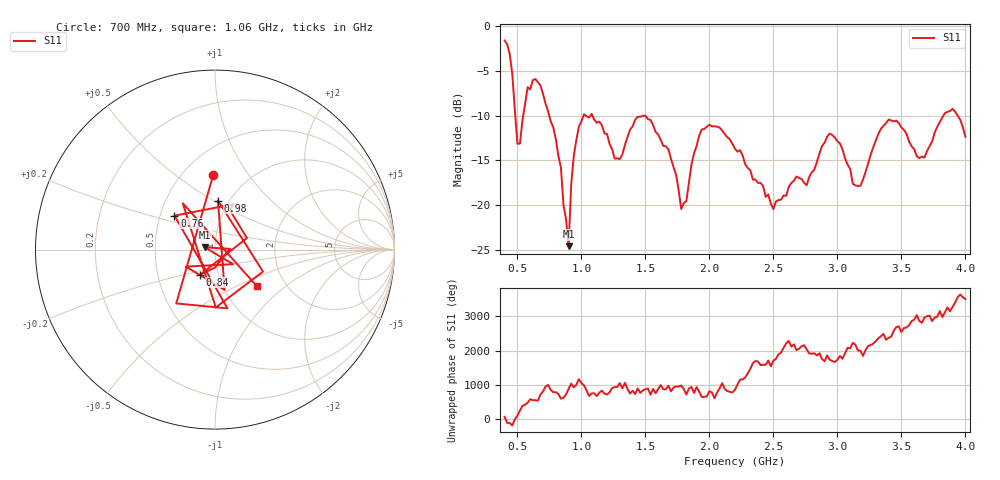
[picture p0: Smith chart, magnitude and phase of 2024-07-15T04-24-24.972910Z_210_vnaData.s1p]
!Created with skrf (http://scikit-rf.org).
# Hz S RI R 50.0
!freq ReS11 ImS11
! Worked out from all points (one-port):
!   181 points, 400 MHz to 4 GHz, reference 50 ohm
!   lowest |S11| = -24.6 dB at 900 MHz (marker M1), VSWR 1.13, Z = 44.5 + j1.13 ohm
!   |S11| at or under -10 dB: 748.9 MHz to 1.016 GHz (266.9 MHz wide, 30.2 % of centre); 1.086 GHz to 1.488 GHz (401.8 MHz wide, 31.2 % of centre); 1.501 GHz to 3.828 GHz (2.327 GHz wide, 87.3 % of centre) (the widest 3 of 6)
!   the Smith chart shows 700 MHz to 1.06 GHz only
!   S11 on the Smith chart (normalised r, x): 700 MHz: 0.69, +0.70; 760 MHz: 0.59, +0.25; 840 MHz: 0.82, -0.23; 980 MHz: 0.89, +0.52; 1.06 GHz: 1.44, -0.65
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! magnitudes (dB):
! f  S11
! 400 MHz  -1.6
! 460 MHz  -5.4
! 500 MHz  -13.1
! 580 MHz  -6.8
! 700 MHz  -7.6
! 760 MHz  -10.6
! 840 MHz  -15.8
! 860 MHz  -20.0
! 900 MHz  -24.6
! 920 MHz  -17.7
! 980 MHz  -11.3
! 1.06 GHz  -10.2
! 1.3 GHz  -14.9
! 1.5 GHz  -10.0
! 1.76 GHz  -18.4
! 1.82 GHz  -19.5
! 1.94 GHz  -11.5
! 2.2 GHz  -13.7
! 2.5 GHz  -20.4
! 2.66 GHz  -17.3
! 2.94 GHz  -12.0
! 3.1 GHz  -16.0
! 3.18 GHz  -17.8
! 3.4 GHz  -10.4
! 3.56 GHz  -12.9
! 3.68 GHz  -14.7
! 3.9 GHz  -9.2
! 4 GHz  -12.4
